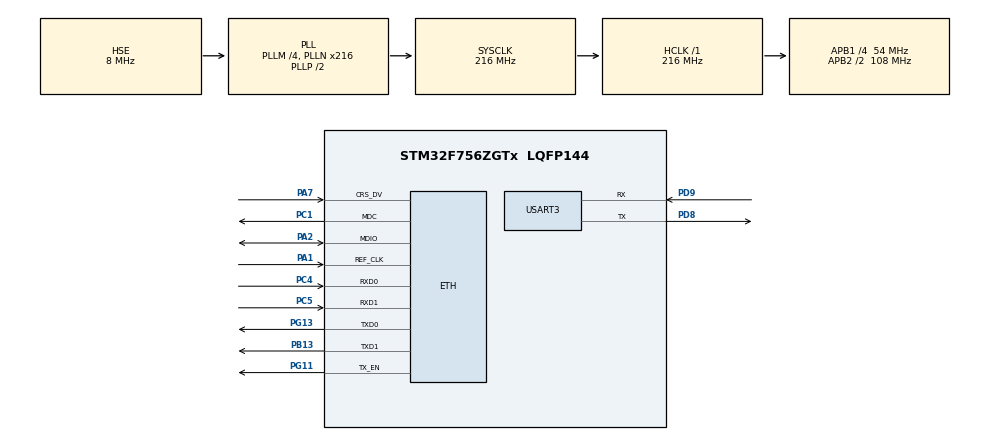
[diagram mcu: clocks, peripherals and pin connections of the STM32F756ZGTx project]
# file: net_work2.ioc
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ETH.MediaInterface=HAL_ETH_RMII_MODE
LWIP.BSP.number=1
LWIP.LWIP_HTTPD=0
LWIP.LWIP_IPV6=0
LWIP.Version=v2.1.2_Cube
LWIP0.BSP.STBoard=false
LWIP0.BSP.api=BSP_COMPONENT_DRIVER
LWIP0.BSP.component=LAN8742
LWIP0.BSP.instance=LAN8742
LWIP0.BSP.name=Driver_PHY
LWIP0.BSP.semaphore=S_LAN8742
LWIP0.BSP.solution=LAN8742
Mcu.Family=STM32F7
Mcu.Name=STM32F756ZGTx
Mcu.Package=LQFP144
NVIC.PriorityGroup=NVIC_PRIORITYGROUP_4
NVIC.TIM6_DAC_IRQn=true\:15\:0\:false\:false\:true\:false\:true\:true
NVIC.TimeBase=TIM6_DAC_IRQn
NVIC.TimeBaseIP=TIM6
PA1.Mode=RMII
PA1.Signal=ETH_REF_CLK
PA13.Mode=Serial_Wire
PA13.Signal=SYS_JTMS-SWDIO
PA14.Mode=Serial_Wire
PA14.Signal=SYS_JTCK-SWCLK
PA2.Mode=RMII
PA2.Signal=ETH_MDIO
PA7.Mode=RMII
PA7.Signal=ETH_CRS_DV
PB13.Mode=RMII
PB13.Signal=ETH_TXD1
PC1.Mode=RMII
PC1.Signal=ETH_MDC
PC14/OSC32_IN.Mode=LSE-External-Oscillator
PC14/OSC32_IN.Signal=RCC_OSC32_IN
PC15/OSC32_OUT.Mode=LSE-External-Oscillator
PC15/OSC32_OUT.Signal=RCC_OSC32_OUT
PC4.Mode=RMII
PC4.Signal=ETH_RXD0
PC5.Mode=RMII
PC5.Signal=ETH_RXD1
PD8.Mode=Asynchronous
PD8.Signal=USART3_TX
PD9.Mode=Asynchronous
PD9.Signal=USART3_RX
PG11.Mode=RMII
PG11.Signal=ETH_TX_EN
PG13.Mode=RMII
PG13.Signal=ETH_TXD0
PH0/OSC_IN.Mode=HSE-External-Clock-Source
PH0/OSC_IN.Signal=RCC_OSC_IN
PH1/OSC_OUT.Mode=HSE-External-Clock-Source
PH1/OSC_OUT.Signal=RCC_OSC_OUT
ProjectManager.HeapSize=0x200
ProjectManager.StackSize=0x400
ProjectManager.TargetToolchain=STM32CubeIDE
RCC.AHBFreq_Value=216000000
RCC.APB1CLKDivider=RCC_HCLK_DIV4
RCC.APB1Freq_Value=54000000
RCC.APB1TimFreq_Value=108000000
RCC.APB2CLKDivider=RCC_HCLK_DIV2
RCC.APB2Freq_Value=108000000
RCC.APB2TimFreq_Value=216000000
RCC.CortexFreq_Value=216000000
RCC.HCLKFreq_Value=216000000
RCC.HSE_VALUE=8000000
RCC.HSI_VALUE=16000000
RCC.PLLM=4
RCC.PLLN=216
RCC.PLLSourceVirtual=RCC_PLLSOURCE_HSE
RCC.SYSCLKFreq_VALUE=216000000
RCC.SYSCLKSource=RCC_SYSCLKSOURCE_PLLCLK
RCC.USBFreq_Value=216000000
RCC.VCOOutputFreq_Value=432000000
USART3.VirtualMode-Asynchronous=VM_ASYNC
VP_LWIP_VS_Enabled.Mode=Enabled
VP_SYS_VS_tim6.Mode=TIM6
board=custom

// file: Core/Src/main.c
/* USER CODE BEGIN Header */
/**
  ******************************************************************************
  * @file           : main.c
  * @brief          : Main program body
  ******************************************************************************
  * @attention
  *
  * Copyright (c) 2024 STMicroelectronics.
  * All rights reserved.
  *
  * This software is licensed under terms that can be found in the LICENSE file
  * in the root directory of this software component.
  * If no LICENSE file comes with this software, it is provided AS-IS.
  *
  ******************************************************************************
  */
/* USER CODE END Header */
#include "main.h"
#include "lwip.h"

/* USER CODE BEGIN Includes */
#include "mongoose.h"

/* USER CODE END Includes */

UART_HandleTypeDef huart3;

void SystemClock_Config(void);
static void MX_GPIO_Init(void);
static void MX_USART3_UART_Init(void);

/* USER CODE BEGIN 0 */

int _write(int file, char *ptr, int len) {
    if (file == 1 || file == 2) {
      extern UART_HandleTypeDef huart3;
      HAL_UART_Transmit(&huart3, (unsigned char *) ptr, len, 999);
    }
    return len;
  }

uint64_t mg_millis(void) {
  return HAL_GetTick();
}

static void ev_handler(struct mg_connection *c, int ev, void *ev_data) {
  if (ev == MG_EV_HTTP_MSG) {
    struct mg_http_message *hm = ev_data;  // Parsed HTTP request
    // mg_http_reply(c, 200, "", "ok\r\n");
    mg_http_reply(c, 200, "", "hello, current time: %llu\r\n", mg_millis());
  }
}

static void run_mongoose1(void){

    /* USER CODE BEGIN WHILE */
    struct mg_mgr mgr;
    mg_mgr_init(&mgr);
    mg_log_set(MG_LL_DEBUG);
    mg_http_listen(&mgr, "http://0.0.0.0:8000", ev_handler, NULL);

    // On STM32Fxx, use _stm32f suffix instead of _stm32h
    struct mg_tcpip_driver_stm32f_data driver_data = {.mdc_cr = 4};
    struct mg_tcpip_if mif = {.mac = {2, 3, 4, 5, 6, 7},
//                               Uncomment below for static configuration:
                               .ip = mg_htonl(MG_U32(192, 168, 0, 223)),
                               .mask = mg_htonl(MG_U32(255, 255, 255, 0)),
                               .gw = mg_htonl(MG_U32(192, 168, 0, 1)),
                              .driver = &mg_tcpip_driver_stm32f,
                              .driver_data = &driver_data};
    NVIC_EnableIRQ(ETH_IRQn);
    mg_tcpip_init(&mgr, &mif);

    while (1) {
      mg_mgr_poll(&mgr, 0);
    }
}

/* USER CODE END 0 */

int main(void)
{

  /* MCU Configuration--------------------------------------------------------*/

  /* Reset of all peripherals, Initializes the Flash interface and the Systick. */
  HAL_Init();

  /* Configure the system clock */
  SystemClock_Config();

  /* Initialize all configured peripherals */
  MX_GPIO_Init();
  MX_USART3_UART_Init();
  MX_LWIP_Init();
  /* USER CODE BEGIN 2 */

  run_mongoose1();

  /* USER CODE END 2 */

  /* Infinite loop */
  while (1)
  {
	  printf("Tick: %lu\r\n", HAL_GetTick());
	  HAL_Delay(500);

  }
}

void SystemClock_Config(void)
{
  RCC_OscInitTypeDef RCC_OscInitStruct = {0};
  RCC_ClkInitTypeDef RCC_ClkInitStruct = {0};

  /** Configure LSE Drive Capability
  */
  HAL_PWR_EnableBkUpAccess();

  /** Configure the main internal regulator output voltage
  */
  __HAL_RCC_PWR_CLK_ENABLE();
  __HAL_PWR_VOLTAGESCALING_CONFIG(PWR_REGULATOR_VOLTAGE_SCALE1);

  /** Initializes the RCC Oscillators according to the specified parameters
  * in the RCC_OscInitTypeDef structure.
  */
  RCC_OscInitStruct.OscillatorType = RCC_OSCILLATORTYPE_HSE;
  RCC_OscInitStruct.HSEState = RCC_HSE_BYPASS;
  RCC_OscInitStruct.PLL.PLLState = RCC_PLL_ON;
  RCC_OscInitStruct.PLL.PLLSource = RCC_PLLSOURCE_HSE;
  RCC_OscInitStruct.PLL.PLLM = 4;
  RCC_OscInitStruct.PLL.PLLN = 216;
  RCC_OscInitStruct.PLL.PLLP = RCC_PLLP_DIV2;
  RCC_OscInitStruct.PLL.PLLQ = 2;
  if (HAL_RCC_OscConfig(&RCC_OscInitStruct) != HAL_OK)
  {
    Error_Handler();
  }

  /** Activate the Over-Drive mode
  */
  if (HAL_PWREx_EnableOverDrive() != HAL_OK)
  {
    Error_Handler();
  }

  /** Initializes the CPU, AHB and APB buses clocks
  */
  RCC_ClkInitStruct.ClockType = RCC_CLOCKTYPE_HCLK|RCC_CLOCKTYPE_SYSCLK
                              |RCC_CLOCKTYPE_PCLK1|RCC_CLOCKTYPE_PCLK2;
  RCC_ClkInitStruct.SYSCLKSource = RCC_SYSCLKSOURCE_PLLCLK;
  RCC_ClkInitStruct.AHBCLKDivider = RCC_SYSCLK_DIV1;
  RCC_ClkInitStruct.APB1CLKDivider = RCC_HCLK_DIV4;
  RCC_ClkInitStruct.APB2CLKDivider = RCC_HCLK_DIV2;

  if (HAL_RCC_ClockConfig(&RCC_ClkInitStruct, FLASH_LATENCY_7) != HAL_OK)
  {
    Error_Handler();
  }
}

static void MX_USART3_UART_Init(void)
{

  huart3.Instance = USART3;
  huart3.Init.BaudRate = 115200;
  huart3.Init.WordLength = UART_WORDLENGTH_8B;
  huart3.Init.StopBits = UART_STOPBITS_1;
  huart3.Init.Parity = UART_PARITY_NONE;
  huart3.Init.Mode = UART_MODE_TX_RX;
  huart3.Init.HwFlowCtl = UART_HWCONTROL_NONE;
  huart3.Init.OverSampling = UART_OVERSAMPLING_16;
  huart3.Init.OneBitSampling = UART_ONE_BIT_SAMPLE_DISABLE;
  huart3.AdvancedInit.AdvFeatureInit = UART_ADVFEATURE_NO_INIT;
  if (HAL_UART_Init(&huart3) != HAL_OK)
  {
    Error_Handler();
  }

}

static void MX_GPIO_Init(void)
{

  /* GPIO Ports Clock Enable */
  __HAL_RCC_GPIOC_CLK_ENABLE();
  __HAL_RCC_GPIOH_CLK_ENABLE();
  __HAL_RCC_GPIOA_CLK_ENABLE();
  __HAL_RCC_GPIOB_CLK_ENABLE();
  __HAL_RCC_GPIOD_CLK_ENABLE();
  __HAL_RCC_GPIOG_CLK_ENABLE();

}

void HAL_TIM_PeriodElapsedCallback(TIM_HandleTypeDef *htim)
{
  if (htim->Instance == TIM6) {
    HAL_IncTick();
  }
}

void Error_Handler(void)
{
  __disable_irq();
  while (1)
  {
  }
}
